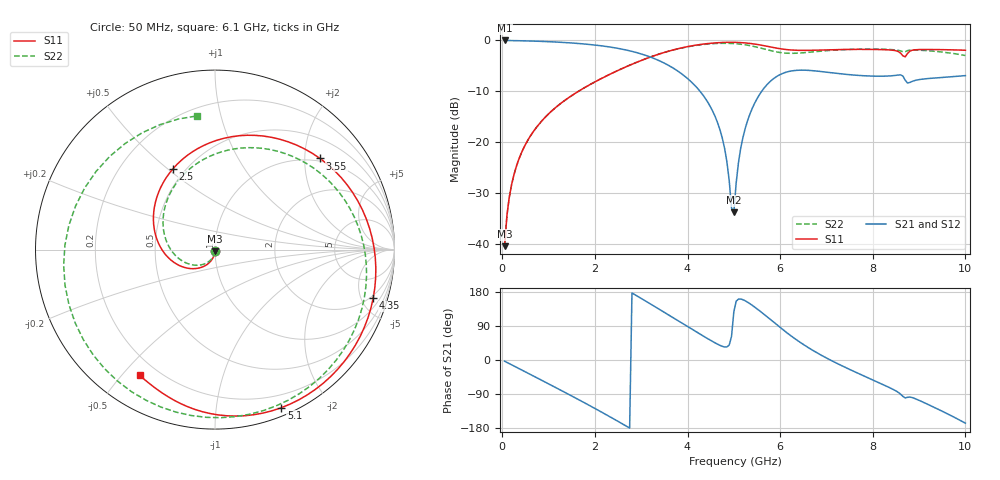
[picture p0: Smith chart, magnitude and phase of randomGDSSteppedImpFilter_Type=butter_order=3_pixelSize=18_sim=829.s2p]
! freq	dB(S11)	phase(S11)	dB(S12)	phase(S12)
!  dB(S21)	phase(S21)	dB(S22)	phase(S22)
!S-par simulation data
#  GHz  S  DB  R 50
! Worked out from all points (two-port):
!   200 points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, 50 MHz to 10 GHz, reference 50 ohm
!   highest |S21| = 0.00 dB at 50 MHz (marker M1); lowest = -33.8 dB at 5 GHz (marker M2)
!   |S21| within 3 dB of the highest: start of sweep to 3.119 GHz
!   lowest |S11| = -40.4 dB at 50 MHz (marker M3), VSWR 1.02, Z = 50 - j0.953 ohm
!   |S11| at or under -10 dB: start of sweep to 1.643 GHz
!   |S22| runs from -40.4 to -0.6 dB; largest |S21 - S12| = 0
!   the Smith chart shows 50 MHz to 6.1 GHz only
!   S11 on the Smith chart (normalised r, x): 50 MHz: 1.00, -0.02; 2.5 GHz: 0.43, +0.52; 3.55 GHz: 0.93, +2.36; 4.35 GHz: 1.72, -6.20; 5.1 GHz: 0.07, -1.50; 6.1 GHz: 0.13, -0.56
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0.05  -40.40 -92.3  -0.00 -3.2  -0.00 -3.2  -40.41 -93.0
0.2  -28.36 -101.2  -0.03 -12.6  -0.03 -12.6  -28.38 -103.8
0.45  -21.34 -115.5  -0.07 -28.3  -0.07 -28.3  -21.36 -121.4
1.15  -13.19 -156.4  -0.31 -72.5  -0.31 -72.5  -13.20 -170.2
1.75  -9.41 167.1  -0.68 -111.3  -0.68 -111.3  -9.41 148.6
2.5  -5.88 117.4  -1.56 -162.0  -1.56 -162.0  -5.87 96.7
3.4  -2.63 52.1  -4.02 133.1  -4.02 133.1  -2.63 31.9
3.55  -2.22 40.9  -4.70 121.9  -4.70 121.9  -2.22 20.7
3.95  -1.31 11.5  -7.10 92.1  -7.10 92.1  -1.34 -10.0
4.35  -0.71 -17.1  -10.94 62.5  -10.94 62.5  -0.78 -42.4
4.75  -0.40 -44.4  -19.17 36.1  -19.17 36.1  -0.56 -78.1
5  -0.37 -60.8  -33.76 127.1  -33.76 127.1  -0.62 -103.6
5.05  -0.38 -64.0  -28.03 155.0  -28.03 155.0  -0.65 -109.1
5.1  -0.40 -67.2  -23.98 160.8  -23.98 160.8  -0.69 -114.7
5.3  -0.53 -79.7  -15.66 152.3  -15.66 152.3  -0.94 -139.1
5.6  -0.94 -97.2  -10.01 125.6  -10.01 125.6  -1.55 178.4
6.1  -1.75 -120.9  -6.32 76.2  -6.32 76.2  -2.48 97.6
6.7  -1.93 -146.3  -5.94 25.8  -5.94 25.8  -2.26 19.1
7.5  -1.76 173.6  -6.73 -24.9  -6.73 -24.9  -1.76 -42.7
8.35  -1.86 122.4  -6.98 -72.2  -6.98 -72.2  -1.77 -86.5
9.15  -1.78 74.3  -7.52 -114.8  -7.52 -114.8  -1.99 -122.1
10  -1.92 20.0  -6.90 -166.7  -6.90 -166.7  -2.97 -172.7
